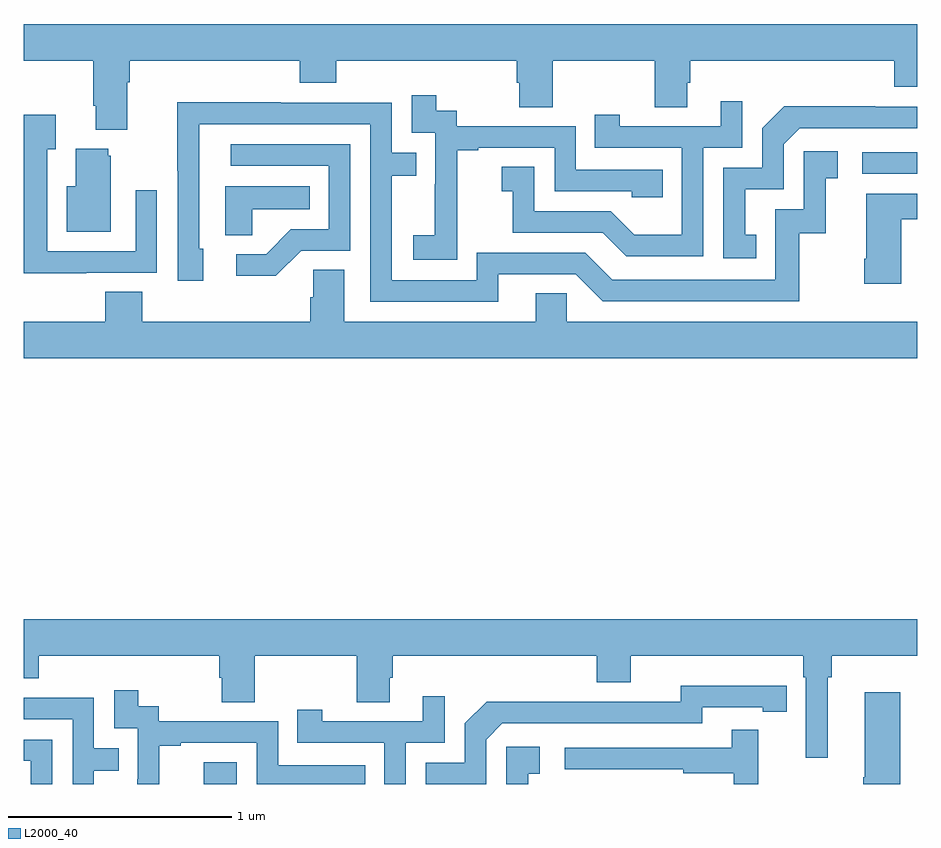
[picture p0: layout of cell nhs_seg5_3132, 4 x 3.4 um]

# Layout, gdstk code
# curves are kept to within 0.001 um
import gdstk
lib = gdstk.Library(unit=1e-6, precision=1e-09)
def R(c, l, rs):  # rectangles x0, y0, x1, y1
    for r in rs: c.add(gdstk.rectangle(r[:2], r[2:], *l))
def P(c, l, *ps):  # polygons
    for p in ps: c.add(gdstk.Polygon(p, *l))
L2000_40 = (2000, 40)

nhs_seg5_3132 = lib.new_cell('nhs_seg5_3132')
R(nhs_seg5_3132, L2000_40, [(291.807,910.799,291.954,910.897), (294.753,913.53,295,913.626)])
P(nhs_seg5_3132, L2000_40, [(291.463,913.94),(291.476,913.94),(291.476,914.036),(292.235,914.036),(292.235,913.937),(292.4,913.937),(292.4,914.036),(293.207,914.036),(293.207,913.938),(293.219,913.938),(293.219,913.828),(293.367,913.828),(293.367,914.036),(293.824,914.036),(293.824,913.828),(293.971,913.828),(293.971,913.938),(293.984,913.938),(293.984,914.036),(294.896,914.036),(294.896,913.919),(295,913.919),(295,914.2),(291,914.2),(291,914.036),(291.311,914.036),(291.311,913.834),(291.323,913.834),(291.323,913.727),(291.463,913.727)],
  [(292.941,913.351),(292.94,913.351),(292.94,913.635),(293.035,913.635),(293.035,913.647),(293.376,913.647),(293.376,913.452),(293.721,913.452),(293.721,913.425),(293.861,913.425),(293.861,913.548),(293.472,913.548),(293.472,913.743),(292.938,913.743),(292.938,913.812),(292.846,913.812),(292.846,913.882),(292.737,913.882),(292.737,913.713),(292.842,913.713),(292.842,913.484),(292.841,913.484),(292.841,913.255),(292.743,913.255),(292.743,913.145),(292.941,913.145)],
  [(294.042,913.647),(294.216,913.647),(294.216,913.855),(294.119,913.855),(294.119,913.743),(293.668,913.743),(293.668,913.795),(293.557,913.795),(293.557,913.647),(293.946,913.647),(293.946,913.258),(293.732,913.258),(293.628,913.362),(293.286,913.362),(293.286,913.561),(293.139,913.561),(293.139,913.451),(293.188,913.451),(293.188,913.266),(293.591,913.266),(293.696,913.161),(294.042,913.161)],
  [(293.125,913.08),(293.472,913.08),(293.592,912.96),(294.472,912.96),(294.472,913.263),(294.59,913.263),(294.59,913.509),(294.643,913.509),(294.643,913.63),(294.492,913.63),(294.492,913.371),(294.363,913.371),(294.363,913.056),(293.634,913.056),(293.514,913.176),(293.028,913.176),(293.028,913.053),(292.647,913.053),(292.647,913.522),(292.757,913.522),(292.757,913.623),(292.647,913.623),(292.647,913.848),(292.151,913.848),(292.151,913.85),(291.688,913.85),(291.688,913.543),(291.69,913.543),(291.69,913.05),(291.805,913.05),(291.805,913.194),(291.786,913.194),(291.786,913.752),(292.551,913.752),(292.551,912.957),(293.125,912.957)],
  [(294.278,913.257),(294.229,913.257),(294.229,913.461),(294.402,913.461),(294.402,913.662),(294.474,913.734),(295,913.734),(295,913.83),(294.812,913.83),(294.812,913.832),(294.404,913.832),(294.306,913.734),(294.306,913.557),(294.132,913.557),(294.132,913.152),(294.278,913.152)],
  [(291.281,913.086),(291.597,913.086),(291.597,913.456),(291.501,913.456),(291.501,913.182),(291.105,913.182),(291.105,913.639),(291.145,913.639),(291.145,913.795),(291,913.795),(291,913.085),(291.281,913.085)],
  [(292.242,913.185),(292.461,913.185),(292.461,913.662),(291.927,913.662),(291.927,913.566),(292.365,913.566),(292.365,913.281),(292.196,913.281),(292.085,913.17),(291.951,913.17),(291.951,913.073),(292.129,913.073)],
  [(291.391,913.611),(291.38,913.611),(291.38,913.642),(291.233,913.642),(291.233,913.474),(291.194,913.474),(291.194,913.271),(291.391,913.271)],
  [(292.023,913.37),(292.28,913.37),(292.28,913.474),(291.902,913.474),(291.902,913.255),(292.023,913.255)],
  [(294.928,913.327),(295,913.327),(295,913.441),(294.77,913.441),(294.77,913.15),(294.763,913.15),(294.763,913.038),(294.928,913.038)],
  [(295,912.868),(293.43,912.868),(293.43,912.995),(293.291,912.995),(293.291,912.868),(292.435,912.868),(292.435,913.1),(292.296,913.1),(292.296,912.977),(292.283,912.977),(292.283,912.868),(291.53,912.868),(291.53,913.001),(291.365,913.001),(291.365,912.868),(291,912.868),(291,912.704),(295,912.704)],
  [(294.598,911.276),(294.617,911.276),(294.617,911.372),(295,911.372),(295,911.536),(291,911.536),(291,911.273),(291.068,911.273),(291.068,911.372),(291.875,911.372),(291.875,911.274),(291.887,911.274),(291.887,911.164),(292.035,911.164),(292.035,911.372),(292.492,911.372),(292.492,911.164),(292.639,911.164),(292.639,911.274),(292.652,911.274),(292.652,911.372),(293.564,911.372),(293.564,911.255),(293.716,911.255),(293.716,911.372),(294.488,911.372),(294.488,911.276),(294.501,911.276),(294.501,910.917),(294.598,910.917)],
  [(293.07,910.998),(293.142,911.07),(294.036,911.07),(294.036,911.142),(294.308,911.142),(294.308,911.122),(294.416,911.122),(294.416,911.238),(293.94,911.239),(293.94,911.166),(293.48,911.166),(293.48,911.168),(293.072,911.168),(292.974,911.07),(292.974,910.893),(292.8,910.893),(292.8,910.799),(293.07,910.799)],
  [(291.608,910.971),(291.703,910.971),(291.703,910.983),(292.044,910.983),(292.044,910.799),(292.529,910.799),(292.529,910.884),(292.14,910.884),(292.14,911.079),(291.606,911.079),(291.606,911.148),(291.514,911.148),(291.514,911.218),(291.405,911.218),(291.405,911.049),(291.51,911.049),(291.51,910.82),(291.509,910.82),(291.509,910.799),(291.608,910.799)],
  [(294.923,911.209),(294.764,911.209),(294.764,910.829),(294.757,910.829),(294.757,910.799),(294.923,910.799)],
  [(292.71,910.983),(292.884,910.983),(292.884,911.191),(292.787,911.191),(292.787,911.079),(292.336,911.079),(292.336,911.131),(292.225,911.131),(292.225,910.983),(292.614,910.983),(292.614,910.799),(292.71,910.799)],
  [(291.315,910.858),(291.425,910.858),(291.425,910.959),(291.315,910.959),(291.315,911.184),(291,911.184),(291,911.088),(291.219,911.088),(291.219,910.799),(291.315,910.799)],
  [(294.287,911.041),(294.169,911.041),(294.169,910.962),(293.421,910.962),(293.421,910.866),(293.953,910.866),(293.953,910.846),(294.177,910.846),(294.177,910.799),(294.287,910.799)],
  [(291.129,910.998),(291,910.998),(291,910.902),(291.033,910.902),(291.033,910.799),(291.129,910.799)],
  [(293.258,910.845),(293.311,910.845),(293.311,910.966),(293.16,910.966),(293.16,910.799),(293.258,910.799)])

lib.write_gds('nhs_seg5_3132.gds')
